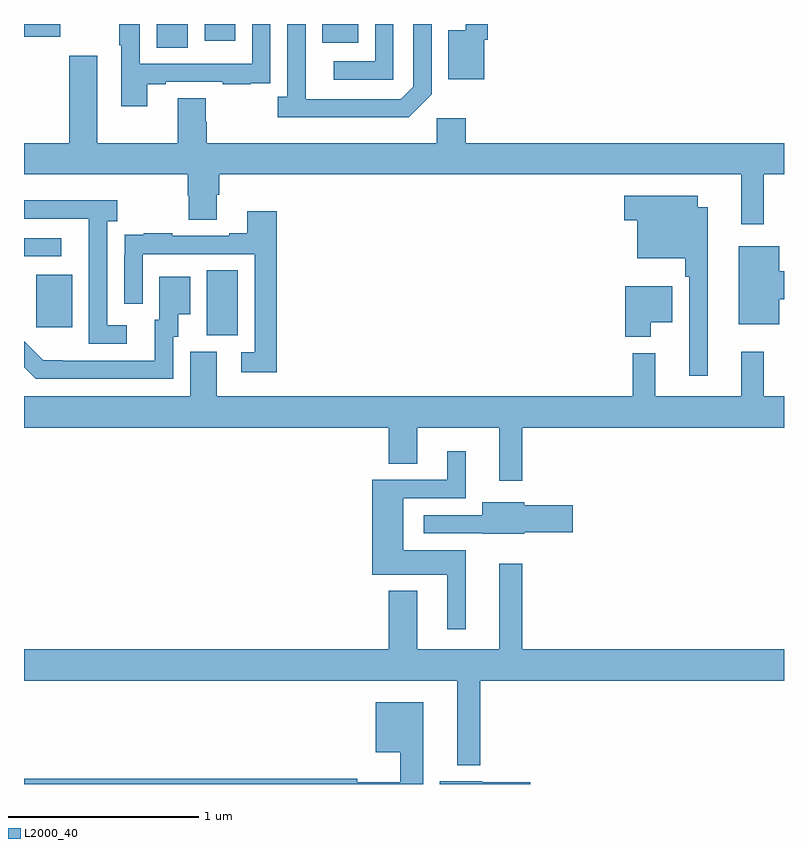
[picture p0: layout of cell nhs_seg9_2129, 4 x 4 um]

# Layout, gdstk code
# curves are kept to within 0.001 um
import gdstk
lib = gdstk.Library(unit=1e-6, precision=1e-09)
def R(c, l, rs):  # rectangles x0, y0, x1, y1
    for r in rs: c.add(gdstk.rectangle(r[:2], r[2:], *l))
def P(c, l, *ps):  # polygons
    for p in ps: c.add(gdstk.Polygon(p, *l))
L2000_40 = (2000, 40)

nhs_seg9_2129 = lib.new_cell('nhs_seg9_2129')
R(nhs_seg9_2129, L2000_40, [(231.962,1240.861,232.126,1241.204), (231.065,1240.905,231.253,1241.179), (231,1241.277,231.196,1241.373), (231.698,1242.376,231.862,1242.5), (232.571,1242.401,232.759,1242.5), (231.95,1242.411,232.111,1242.5), (231,1242.434,231.19,1242.5)])
P(nhs_seg9_2129, L2000_40, [(231.649,1242.183),(231.745,1242.183),(231.745,1242.195),(232.045,1242.195),(232.045,1242.183),(232.193,1242.183),(232.193,1242.189),(232.295,1242.189),(232.295,1242.298),(232.296,1242.298),(232.296,1242.5),(232.2,1242.5),(232.2,1242.291),(231.609,1242.291),(231.609,1242.5),(231.501,1242.5),(231.501,1242.388),(231.513,1242.388),(231.513,1242.066),(231.649,1242.066)],
  [(232.944,1242.5),(232.848,1242.5),(232.848,1242.303),(232.629,1242.303),(232.629,1242.207),(232.944,1242.207)],
  [(233.145,1242.129),(233.145,1242.5),(233.049,1242.5),(233.049,1242.171),(232.983,1242.105),(232.483,1242.105),(232.482,1242.5),(232.386,1242.5),(232.386,1242.118),(232.335,1242.118),(232.335,1242.008),(233.024,1242.008)],
  [(233.422,1242.417),(233.441,1242.417),(233.441,1242.5),(233.324,1242.5),(233.324,1242.466),(233.234,1242.466),(233.234,1242.209),(233.422,1242.209)],
  [(234.893,1241.708),(235,1241.708),(235,1241.872),(233.324,1241.872),(233.324,1242.004),(233.172,1242.004),(233.172,1241.872),(231.962,1241.872),(231.962,1241.985),(231.957,1241.985),(231.957,1242.11),(231.809,1242.11),(231.809,1241.872),(231.385,1241.872),(231.385,1242.334),(231.238,1242.334),(231.238,1241.872),(231,1241.872),(231,1241.708),(231.863,1241.708),(231.863,1241.595),(231.868,1241.595),(231.868,1241.47),(232.015,1241.47),(232.015,1241.602),(232.028,1241.602),(232.028,1241.708),(234.775,1241.708),(234.775,1241.445),(234.893,1241.445)],
  [(234.598,1241.536),(234.547,1241.536),(234.547,1241.596),(234.159,1241.596),(234.159,1241.467),(234.227,1241.467),(234.227,1241.267),(234.481,1241.267),(234.481,1241.171),(234.501,1241.171),(234.501,1240.65),(234.598,1240.65)],
  [(231.541,1240.914),(231.438,1240.914),(231.438,1241.462),(231.49,1241.462),(231.49,1241.572),(231,1241.572),(231,1241.475),(231.341,1241.475),(231.341,1241.275),(231.342,1241.275),(231.342,1240.818),(231.541,1240.818)],
  [(232.331,1241.515),(232.175,1241.515),(232.175,1241.398),(232.079,1241.398),(232.079,1241.385),(231.779,1241.385),(231.779,1241.398),(231.631,1241.398),(231.631,1241.391),(231.529,1241.391),(231.529,1241.282),(231.528,1241.282),(231.528,1241.028),(231.624,1241.028),(231.624,1241.289),(232.215,1241.289),(232.215,1240.773),(232.143,1240.773),(232.143,1240.668),(232.331,1240.668)],
  [(234.976,1241.051),(235,1241.051),(235,1241.198),(234.976,1241.198),(234.976,1241.329),(234.761,1241.329),(234.761,1240.919),(234.976,1240.919)],
  [(231.786,1240.854),(231.811,1240.854),(231.811,1240.973),(231.874,1240.973),(231.874,1241.17),(231.713,1241.17),(231.713,1240.944),(231.689,1240.944),(231.689,1240.728),(231.102,1240.729),(231,1240.83),(231,1240.694),(231.062,1240.632),(231.786,1240.632)],
  [(234.298,1240.931),(234.412,1240.931),(234.412,1241.119),(234.164,1241.119),(234.164,1240.853),(234.298,1240.853)],
  [(233.623,1240.376),(235,1240.376),(235,1240.54),(234.893,1240.54),(234.893,1240.774),(234.776,1240.774),(234.776,1240.54),(234.323,1240.54),(234.323,1240.768),(234.205,1240.768),(234.205,1240.54),(232.015,1240.54),(232.015,1240.776),(231.875,1240.776),(231.875,1240.54),(231,1240.54),(231,1240.376),(232.919,1240.376),(232.919,1240.186),(233.071,1240.186),(233.071,1240.376),(233.501,1240.376),(233.501,1240.095),(233.623,1240.095)],
  [(233.326,1239.73),(232.996,1239.73),(232.996,1240.005),(233.326,1240.005),(233.326,1240.252),(233.228,1240.252),(233.228,1240.101),(232.832,1240.101),(232.832,1239.602),(233.228,1239.602),(233.228,1239.315),(233.326,1239.315)],
  [(233.634,1239.824),(233.887,1239.824),(233.887,1239.966),(233.634,1239.966),(233.634,1239.982),(233.411,1239.982),(233.411,1239.915),(233.103,1239.915),(233.103,1239.819),(233.415,1239.819),(233.415,1239.818),(233.634,1239.818)],
  [(233.401,1239.044),(235,1239.044),(235,1239.208),(233.623,1239.208),(233.623,1239.658),(233.501,1239.658),(233.501,1239.208),(233.071,1239.208),(233.071,1239.517),(232.919,1239.517),(232.919,1239.208),(231,1239.208),(231,1239.044),(233.279,1239.044),(233.279,1238.6),(233.401,1238.6)],
  [(233.101,1238.929),(232.85,1238.929),(232.85,1238.666),(232.98,1238.666),(232.98,1238.509),(232.754,1238.509),(232.754,1238.528),(231,1238.528),(231,1238.5),(233.101,1238.5)],
  [(233.665,1238.51),(233.412,1238.51),(233.412,1238.515),(233.189,1238.515),(233.189,1238.5),(233.665,1238.5)])

lib.write_gds('nhs_seg9_2129.gds')
